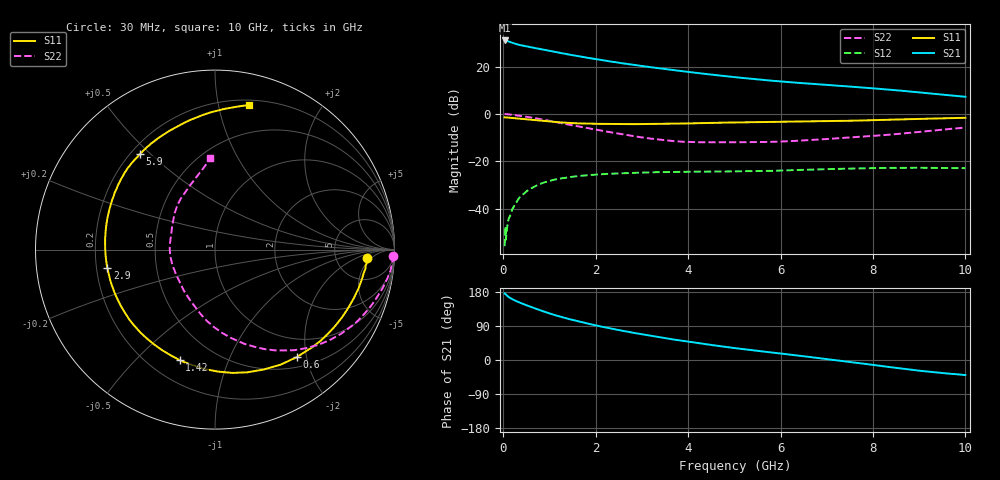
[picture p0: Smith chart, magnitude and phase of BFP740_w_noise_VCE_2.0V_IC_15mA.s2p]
! Infineon Technologies  Discrete & RF Semiconductors
! BFP740
! VCE =  2.0 V,  IC =  15 mA
! Common Emitter S-Parameters:  Jan 2016
# GHz  S  MA  R  50
!  f  S11  S21  S12  S22
! GHz  MAG  ANG  MAG  ANG  MAG  ANG  MAG  ANG
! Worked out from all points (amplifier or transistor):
!   229 points, 30 MHz to 10 GHz, reference 50 ohm
!   highest |S21| = 31.1 dB at 30 MHz (marker M1)
!   |S21| within 3 dB of that: start of sweep to 630.3 MHz
!   unconditionally stable (mu >= 1): 6.552 GHz to end of sweep
!   at 280 MHz: K = 0.19, MSG = 33.5 dB, |S12| = -37.5 dB
!   at 1.78 GHz: K = 0.40, MSG = 24.9 dB, |S12| = -26.0 dB
!   at 10 GHz: K = 1.05, MAG = 13.7 dB, |S12| = -22.9 dB
!   lowest NFmin = 0.59 dB at 450 MHz
!   S11 on the Smith chart (normalised r, x): 30 MHz: 11, -3; 600 MHz: 0.66, -1.83; 1.42 GHz: 0.32, -0.68; 2.9 GHz: 0.24, -0.08; 5.9 GHz: 0.24, +0.46; 10 GHz: 0.24, +1.23
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0.03  0.8475 -3.0  35.72 175.8  0.0016 83.3  0.9924 -1.9
0.05  0.8486 -5.2  35.66 173.6  0.0042 72.4  0.9945 -3.5
0.08  0.8422 -8.1  34.92 170.0  0.0036 86.0  0.9872 -5.4
0.12  0.833 -12.0  33.86 166.1  0.0061 78.8  0.9796 -8.1
0.2  0.8193 -19.4  31.74 160.2  0.0098 79.5  0.9576 -13.1
0.3  0.8019 -28.1  29.62 154.4  0.0143 74.2  0.9302 -18.6
0.4  0.785 -36.6  28.07 149.3  0.0188 70.8  0.9023 -23.9
0.6  0.7525 -52.8  25.64 139.9  0.0265 62.5  0.8435 -33.9
0.8  0.7206 -68.1  23.57 131.0  0.0331 55.3  0.7791 -43.1
0.92  0.7035 -76.6  22.37 126.1  0.0364 51.2  0.7393 -48.3
1.18  0.6696 -93.6  19.95 116.2  0.0421 43.7  0.6584 -58.5
1.42  0.6463 -107.7  18.02 108.2  0.046 38.0  0.5935 -66.8
1.7  0.6282 -122.5  16.13 99.6  0.0493 32.6  0.526 -75.7
2.22  0.6126 -145.9  13.29 85.6  0.0537 24.7  0.4269 -91.5
2.9  0.609 -170.4  10.62 70.0  0.057 17.1  0.3298 -111.5
3.4  0.6151 174.4  9.139 59.8  0.0588 12.3  0.2847 -128.2
4.2  0.6361 154.4  7.324 44.8  0.0602 6.9  0.2527 -156.4
5.1  0.6625 138.2  5.86 30.1  0.0611 2.6  0.2523 178.6
5.9  0.6768 128.1  4.949 18.6  0.0632 0.0  0.2582 161.3
6.8  0.6967 117.2  4.233 5.5  0.0671 -3.7  0.2858 144.2
8.4  0.7558 94.4  3.227 -19.2  0.0723 -13.8  0.3671 115.5
10  0.8276 76.8  2.3 -39.8  0.0713 -22.3  0.5137 92.8
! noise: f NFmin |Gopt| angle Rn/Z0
0.45  0.59  0.08  4  0.17
0.9  0.6  0.07  10  0.17
1.5  0.62  0.07  23  0.16
1.9  0.64  0.07  39  0.16
2.4  0.67  0.07  47  0.15
3.5  0.78  0.06  54  0.14
5.5  0.94  0.15  229  0.13
10  1.33  0.49  -69  0.17
